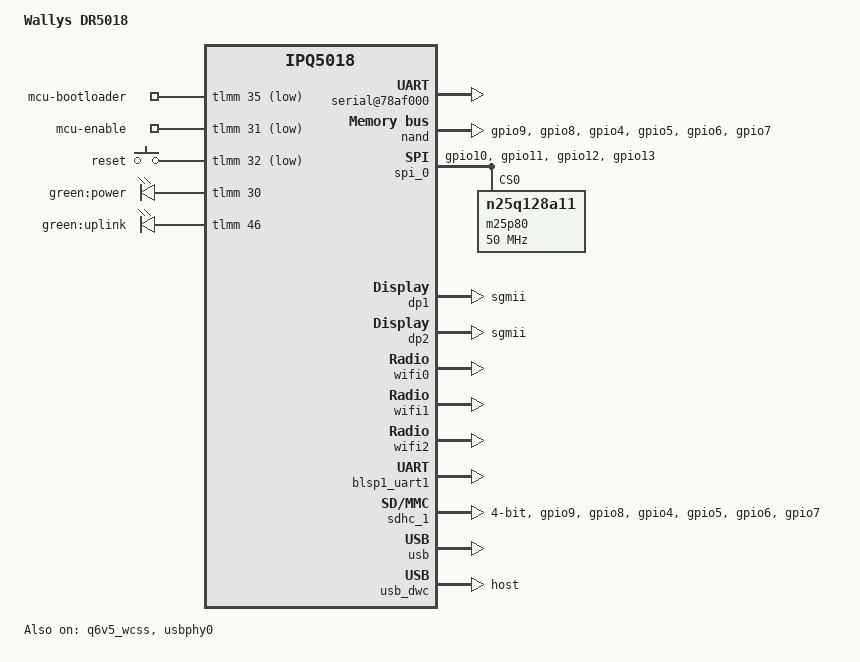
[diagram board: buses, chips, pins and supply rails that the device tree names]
// SPDX-License-Identifier: GPL-2.0-or-later OR MIT
/*
 * Copyright (c) 2025, Christian <kimocoder> Bremvaag <christian@aircrack-ng.org>
 *
 * The 'ipq5018-rdp432-c2.dts' bindings is already implemented in this dtsi.
 * rdp432-c2 ipq5018 contains '&usb', '&usb_dwc', '&usbphy0' and '&xo_board_clk'
 *
 * Also contains nss bindings, so instead of messing up this tree,
 * it's separated and should be included (as import) instead. enjoy.
 *
 */

/dts-v1/;

#include "ipq5018.dtsi"
#include "ipq5018-ess.dtsi"
#include "ipq5018-nss.dtsi"

#include <dt-bindings/gpio/gpio.h>
#include <dt-bindings/input/input.h>
#include <dt-bindings/leds/common.h>

/ {
	model = "Wallys DR5018";
	compatible = "wallys,dr5018", "qcom,ipq5018-mp03.5", "qcom,ipq5018";
	interrupt-parent = <&intc>;

	aliases {
		sdhc1 = &sdhc_1; /* SDC1 eMMC slot */
		serial0 = &blsp1_uart1;
		serial1 = &blsp1_uart2;
		ethernet0 = "/soc/dp1";
		ethernet1 = "/soc/dp2";

		led-boot = &led_power;
		led-failsafe = &led_power;
		led-running = &led_power;
		led-upgrade = &led_power;
	};

	chosen {
		bootargs = "console=ttyMSM0,115200,n8 rw init=/init";
		bootargs-append = " swiotlb=1 coherent_pool=2M";
		stdout-path = "serial0";
	};

	reserved-memory {
	#ifdef __IPQ_MEM_PROFILE_256_MB__
	/*		   256 MB Profile
	 * +==========+==============+=========================+
	 * |	  |	      |			 |
	 * |  Region  | Start Offset |	  Size	   |
	 * |	  |	      |			 |
	 * +----------+--------------+-------------------------+
	 * |    NSS   |  0x40000000  |	   8MB	   |
	 * +----------+--------------+-------------------------+
	 * |   Linux  |  0x40800000  | Depends on total memory |
	 * +----------+--------------+-------------------------+
	 * |   uboot  |  0x4A600000  |	   4MB	   |
	 * +----------+--------------+-------------------------+
	 * |    SBL   |  0x4AA00000  |	   1MB	   |
	 * +----------+--------------+-------------------------+
	 * |   smem   |  0x4AB00000  |	   1MB	   |
	 * +----------+--------------+-------------------------+
	 * |    TZ    |  0x4AC00000  |	   4MB	   |
	 * +----------+--------------+-------------------------+
	 * |    Q6    |	      |			 |
	 * |   code/  |  0x4B000000  |	  20MB	   |
	 * |   data   |	      |			 |
	 * +----------+--------------+-------------------------+
	 * |  IPQ5018 |	      |			 |
	 * |   data   |  0x4C400000  |	  13MB	   |
	 * +----------+--------------+-------------------------+
	 * |  IPQ5018 |	      |			 |
	 * |  M3 Dump |  0x4D100000  |	   1MB	   |
	 * +----------+--------------+-------------------------+
	 * |  IPQ5018 |	      |			 |
	 * |   QDSS   |  0x4D200000  |	   1MB	   |
	 * +----------+--------------+-------------------------+
	 * | QCN6122_1|	      |			 |
	 * |   data   |  0x4D300000  |	  13MB	   |
	 * +----------+--------------+-------------------------+
	 * | QCN6122_1|	      |			 |
	 * |  M3 Dump |  0x4E000000  |	   1MB	   |
	 * +----------+--------------+-------------------------+
	 * | QCN6122_1|	      |			 |
	 * |   QDSS   |  0x4E100000  |	   1MB	   |
	 * +----------+--------------+-------------------------+
	 * | QCN6122_2|	      |			 |
	 * |   data   |  0x4E200000  |	  13MB	   |
	 * +----------+--------------+-------------------------+
	 * | QCN6122_2|	      |			 |
	 * |  M3 Dump |  0x4EF00000  |	   1MB	   |
	 * +----------+--------------+-------------------------+
	 * | QCN6122_2|	      |			 |
	 * |   QDSS   |  0x4F000000  |	   1MB	   |
	 * +----------+--------------+-------------------------+
	 * |						   |
	 * |	    Rest of the memory for Linux	   |
	 * |						   |
	 * +===================================================+
	 */
		q6_mem_regions: q6_mem_regions@4B000000 {
			no-map;
			reg = <0x0 0x4B000000 0x0 0x4100000>;
		};

		q6_code_data: q6_code_data@4B000000 {
			no-map;
			reg = <0x0 0x4B000000 0x0 0x1400000>;
		};

		q6_ipq5018_data: q6_ipq5018_data@4C400000 {
			no-map;
			reg = <0x0 0x4C400000 0x0 0xD00000>;
		};

		m3_dump: m3_dump@4D100000 {
			no-map;
			reg = <0x0 0x4D100000 0x0 0x100000>;
		};

		q6_etr_region: q6_etr_dump@4D200000 {
			no-map;
			reg = <0x0 0x4D200000 0x0 0x100000>;
		};

		q6_qcn6122_data1: q6_qcn6122_data1@4D300000 {
			no-map;
			reg = <0x0 0x4D300000 0x0 0xD00000>;
		};

		m3_dump_qcn6122_1: m3_dump_qcn6122_1@4E000000 {
			no-map;
			reg = <0x0 0x4E000000 0x0 0x100000>;
		};

		q6_qcn6122_etr_1: q6_qcn6122_etr_1@4E100000 {
			no-map;
			reg = <0x0 0x4E100000 0x0 0x100000>;
		};

		q6_qcn6122_data2: q6_qcn6122_data2@4E200000 {
			no-map;
			reg = <0x0 0x4E200000 0x0 0xD00000>;
		};

		m3_dump_qcn6122_2: m3_dump_qcn6122_2@4EF00000 {
			no-map;
			reg = <0x0 0x4EF00000 0x0 0x100000>;
		};

		q6_qcn6122_etr_2: q6_qcn6122_etr_2@4F000000 {
			no-map;
			reg = <0x0 0x4F000000 0x0 0x100000>;
		};
	#else
	/*		 512MB/1GB Profiles
	 * +==========+==============+=========================+
	 * |	  |	      |			 |
	 * |  Region  | Start Offset |	  Size	   |
	 * |	  |	      |			 |
	 * +----------+--------------+-------------------------+
	 * |    NSS   |  0x40000000  |	  16MB	   |
	 * +----------+--------------+-------------------------+
	 * |   Linux  |  0x41000000  | Depends on total memory |
	 * +----------+--------------+-------------------------+
	 * |   uboot  |  0x4A600000  |	   4MB	   |
	 * +----------+--------------+-------------------------+
	 * |    SBL   |  0x4AA00000  |	   1MB	   |
	 * +----------+--------------+-------------------------+
	 * |   smem   |  0x4AB00000  |	   1MB	   |
	 * +----------+--------------+-------------------------+
	 * |    TZ    |  0x4AC00000  |	   4MB	   |
	 * +----------+--------------+-------------------------+
	 * |    Q6    |	      |			 |
	 * |   code/  |  0x4B000000  |	  20MB	   |
	 * |   data   |	      |			 |
	 * +----------+--------------+-------------------------+
	 * |  IPQ5018 |	      |			 |
	 * |   data   |  0x4C400000  |	  13MB	   |
	 * +----------+--------------+-------------------------+
	 * |  IPQ5018 |	      |			 |
	 * |  M3 Dump |  0x4D100000  |	   1MB	   |
	 * +----------+--------------+-------------------------+
	 * |  IPQ5018 |	      |			 |
	 * |   QDSS   |  0x4D200000  |	   1MB	   |
	 * +----------+--------------+-------------------------+
	 * |  IPQ5018 |	      |			 |
	 * |  Caldb   |  0x4D300000  |	   2MB	   |
	 * +----------+--------------+-------------------------+
	 * | QCN6122_1|	      |			 |
	 * |   data   |  0x4D500000  |	  13MB	   |
	 * +----------+--------------+-------------------------+
	 * | QCN6122_1|	      |			 |
	 * |  M3 Dump |  0x4E200000  |	   1MB	   |
	 * +----------+--------------+-------------------------+
	 * | QCN6122_1|	      |			 |
	 * |   QDSS   |  0x4E300000  |	   1MB	   |
	 * +----------+--------------+-------------------------+
	 * | QCN6122_1|	      |			 |
	 * |  Caldb   |  0x4E400000  |	   5MB	   |
	 * +----------+--------------+-------------------------+
	 * | QCN6122_2|	      |			 |
	 * |   data   |  0x4E900000  |	  13MB	   |
	 * +----------+--------------+-------------------------+
	 * | QCN6122_2|	      |			 |
	 * |  M3 Dump |  0x4F600000  |	   1MB	   |
	 * +----------+--------------+-------------------------+
	 * | QCN6122_2|	      |			 |
	 * |   QDSS   |  0x4F700000  |	   1MB	   |
	 * +----------+--------------+-------------------------+
	 * | QCN6122_2|	      |			 |
	 * |  Caldb   |  0x4F800000  |	   5MB	   |
	 * +----------+--------------+-------------------------+
	 * |						   |
	 * |	    Rest of the memory for Linux	   |
	 * |						   |
	 * +===================================================+
	 */
		q6_mem_regions: q6_mem_regions@4B000000 {
			no-map;
			reg = <0x0 0x4B000000 0x0 0x4D00000>;
		};

		q6_code_data: q6_code_data@4B000000 {
			no-map;
			reg = <0x0 0x4B000000 0x0 01400000>;
		};

		q6_ipq5018_data: q6_ipq5018_data@4C400000 {
			no-map;
			reg = <0x0 0x4C400000 0x0 0xD00000>;
		};

		m3_dump: m3_dump@4D100000 {
			no-map;
			reg = <0x0 0x4D100000 0x0 0x100000>;
		};

		q6_etr_region: q6_etr_dump@4D200000 {
			no-map;
			reg = <0x0 0x4D200000 0x0 0x100000>;
		};

		q6_caldb_region: q6_caldb_region@4D300000 {
			no-map;
			reg = <0x0 0x4D300000 0x0 0x200000>;
		};

		q6_qcn6122_data1: q6_qcn6122_data1@4D500000 {
			no-map;
			reg = <0x0 0x4D500000 0x0 0xD00000>;
		};

		m3_dump_qcn6122_1: m3_dump_qcn6122_1@4E200000 {
			no-map;
			reg = <0x0 0x4E200000 0x0 0x100000>;
		};

		q6_qcn6122_etr_1: q6_qcn6122_etr_1@4E300000 {
			no-map;
			reg = <0x0 0x4E300000 0x0 0x100000>;
		};

		q6_qcn6122_caldb_1: q6_qcn6122_caldb_1@4E400000 {
			no-map;
			reg = <0x0 0x4E400000 0x0 0x500000>;
		};

		q6_qcn6122_data2: q6_qcn6122_data2@4E900000 {
			no-map;
			reg = <0x0 0x4E900000 0x0 0xD00000>;
		};

		m3_dump_qcn6122_2: m3_dump_qcn6122_2@4F600000 {
			no-map;
			reg = <0x0 0x4F600000 0x0 0x100000>;
		};

		q6_qcn6122_etr_2: q6_qcn6122_etr_2@4F700000 {
			no-map;
			reg = <0x0 0x4F700000 0x0 0x100000>;
		};

		q6_qcn6122_caldb_2: q6_qcn6122_caldb_2@4F800000 {
			no-map;
			reg = <0x0 0x4F800000 0x0 0x500000>;
		};

	#endif
	};

	soc {
		serial@78af000 {
			status = "ok";
		};

		nand: qpic-nand@79b0000 {
			pinctrl-0 = <&qspi_nand_pins>;
			pinctrl-names = "default";
			status = "ok";
		};

		spi_0: spi@78b5000 { /* BLSP1 QUP0 */
			pinctrl-0 = <&blsp0_spi_pins>;
			pinctrl-names = "default";
			cs-select = <0>;
			status = "ok";

			m25p80@0 {
				reg = <0x0 0x0 0x1000000>;
				compatible = "n25q128a11";
				linux,modalias = "m25p80", "n25q128a11";
				spi-max-frequency = <50000000>;
				use-default-sizes;
			};
		};

		ess-instance {
			num_devices = <0x2>;
			ess-switch@39c00000 {
				compatible = "qcom,ess-switch-ipq50xx";
				device_id = <0>;
				switch_mac_mode = <0xf>; /* mac mode for uniphy instance*/
				cmnblk_clk = "internal_96MHz"; /* cmnblk clk*/
				qcom,port_phyinfo {
					port@0 {
						port_id = <1>;
						phy_address = <7>;
					};
					port@1 {
						port_id = <2>;
						forced-speed = <1000>;
						forced-duplex = <1>;
					};
				};
				led_source@0 {
					source = <0>;
					mode = "normal";
					speed = "all";
					blink_en = "enable";
					active = "high";
				};
			};
			ess-switch1@1 {
				compatible = "qcom,ess-switch-qca83xx";
				device_id = <1>;
				switch_access_mode = "mdio";
				mdio-bus = <&mdio1>;
				reset_gpio = <&tlmm 0x27 0>;
				switch_cpu_bmp = <0x40>;  /* cpu port bitmap */
				switch_lan_bmp = <0x1e>; /* lan port bitmap */
				switch_wan_bmp = <0x0>;  /* wan port bitmap */
				qca,ar8327-initvals = <
						0x00004 0x7600000   /* PAD0_MODE */
						0x00008 0x1000000   /* PAD5_MODE */
						0x0000c 0x80	/* PAD6_MODE */
						0x00010 0x2613a0    /* PORT6 FORCE MODE*/
						0x000e4 0xaa545     /* MAC_POWER_SEL */
						0x000e0 0xc74164de  /* SGMII_CTRL */
						0x0007c 0x4e	/* PORT0_STATUS */
						0x00094 0x4e	/* PORT6_STATUS */
				>;
				qcom,port_phyinfo {
					port@0 {
						port_id = <1>;
						phy_address = <0>;
					};
					port@1 {
						port_id = <2>;
						phy_address = <1>;
					};
					port@2 {
						port_id = <3>;
						phy_address = <2>;
					};
					port@3 {
						port_id = <4>;
						phy_address = <3>;
					};
				};
			};
		};

                dp1 {
                        device_type = "network";
                        compatible = "qcom,nss-dp";
                        clocks = <&gcc GCC_SNOC_GMAC0_AXI_CLK>;
                        clock-names = "nss-snoc-gmac-axi-clk";
                        qcom,id = <1>;
                        reg = <0x00000000 0x39C00000 0x00010000>;
                        interrupts = <GIC_SPI 101 IRQ_TYPE_LEVEL_HIGH>;
                        qcom,mactype = <2>;
                        qcom,link-poll = <1>;
                        qcom,phy-mdio-addr = <7>;
                        mdio-bus = <&mdio0>;
                        local-mac-address = [00 00 00 00 00 00];
                        phy-mode = "sgmii";
                        qcom,rx-page-mode = <0>;
                };

                dp2 {
                        device_type = "network";
                        compatible = "qcom,nss-dp";
                        clocks = <&gcc GCC_SNOC_GMAC1_AXI_CLK>;
                        clock-names = "nss-snoc-gmac-axi-clk";
                        qcom,id = <2>;
                        reg = <0x00000000 0x39D00000 0x00010000>;
                        interrupts = <GIC_SPI 109 IRQ_TYPE_LEVEL_HIGH>;
                        qcom,mactype = <2>;
                        qcom,link-poll = <1>;
                        qcom,phy-mdio-addr = <28>;
                        mdio-bus = <&mdio1>;
                        local-mac-address = [00 00 00 00 00 00];
                        phy-mode = "sgmii";
                        qcom,rx-page-mode = <0>;
                };

		nss-macsec1 {
			compatible = "qcom,nss-macsec";
			phy_addr = <0x1c>;
			mdiobus = <&mdio1>;
		};
	};

	qcom,test@0 {
		status = "ok";
	};

	thermal-zones {
		status = "ok";
	};
};

&tlmm {
	pinctrl-0 = <&blsp0_uart_pins &mcu_pins>;
	pinctrl-names = "default";

	mcu_pins: mcu_pins {
		mcu_rst {
			pins = "gpio31";
			function = "gpio";
			drive-strength = <8>;
			bias-disable;
			output-low;
		};

		mcu_sbl {
			pins = "gpio35";
			function = "gpio";
			drive-strength = <8>;
			bias-disable;
			output-low;
		};
	};

	blsp0_uart_pins: uart_pins {
		blsp0_uart_rx_tx {
			pins = "gpio20", "gpio21";
			function = "blsp0_uart0";
			bias-disable;
		};
	};

	blsp1_uart_pins: blsp1_uart_pins {
		blsp1_uart_rx_tx {
			pins = "gpio23", "gpio25", "gpio24", "gpio26";
			function = "blsp1_uart2";
			bias-disable;
		};
	};

	blsp0_spi_pins: blsp0_spi_pins {
		mux {
			pins = "gpio10", "gpio11", "gpio12", "gpio13";
			function = "blsp0_spi";
			drive-strength = <2>;
			bias-disable;
		};
	};

	qspi_nand_pins: qspi_nand_pins {
		qspi_clock {
			pins = "gpio9";
			function = "qspi_clk";
			drive-strength = <8>;
			bias-disable;
		};

		qspi_cs {
			pins = "gpio8";
			function = "qspi_cs";
			drive-strength = <8>;
			bias-disable;
		};

		qspi_data {
			pins = "gpio4", "gpio5", "gpio6", "gpio7";
			function = "qspi_data";
			drive-strength = <8>;
			bias-disable;
		};
	};

	mdio1_pins: mdio_pinmux {
		mux_0 {
			pins = "gpio36";
			function = "mdc";
			drive-strength = <8>;
			bias-pull-up;
		};

		mux_1 {
			pins = "gpio37";
			function = "mdio";
			drive-strength = <8>;
			bias-pull-up;
		};
	};

	leds_pins: leds_pins {
		led_power {
			pins = "gpio30";
			function = "gpio";
			drive-strength = <8>;
			bias-pull-down;
		};
		led_uplink {
			pins = "gpio46";
			function = "gpio";
			drive-strength = <8>;
			bias-pull-down;
		};
	};

	i2c_pins: i2c_pins {
		i2c_scl {
			pins = "gpio33";
			function = "blsp2_i2c0";
			drive-strength = <8>;
			bias-pull-up;
		};

		i2c_sda {
			pins = "gpio34";
			function = "blsp2_i2c0";
			drive-strength = <8>;
			bias-pull-up;
		};
	};

	button_pins: button_pins {
		wps_button {
			pins = "gpio38";
			function = "gpio";
			drive-strength = <8>;
			bias-pull-up;
		};
	};
};

&soc {
	gpio-export {
		compatible = "gpio-export";
		#size-cells = <0>;

		mcu-bootloader {
			gpio-export,name = "mcu-bootloader";
			gpio-export,output = <0>;
			gpios = <&tlmm 35 GPIO_ACTIVE_LOW>;
		};

		mcu-enable {
			gpio-export,name = "mcu-enable";
			gpio-export,output = <0>;
			gpios = <&tlmm 31 GPIO_ACTIVE_LOW>;
		};
	};

	gpio_keys {
		compatible = "gpio-keys";
		pinctrl-0 = <&button_pins>;
		pinctrl-names = "default";

		wps {
			label = "reset";
			linux,code = <KEY_RESTART>;
			gpios = <&tlmm 32 GPIO_ACTIVE_LOW>;
			linux,input-type = <1>;
			debounce-interval = <60>;
		};
	};

	leds {
		compatible = "gpio-leds";
		pinctrl-0 = <&leds_pins>;
		pinctrl-names = "default";

		led_power: led@30 {
			label = "green:power";
			gpios = <&tlmm 30 GPIO_ACTIVE_HIGH>;
			default-state = "on";
		};
		led@46 {
			label = "green:uplink";
			gpios = <&tlmm 46 GPIO_ACTIVE_HIGH>;
			default-state = "off";
		};
	};
};

&q6v5_wcss {
	compatible = "qcom,ipq5018-q6-mpd";
	#address-cells = <1>;
	#size-cells = <1>;
	ranges;
	firmware = "IPQ5018/q6_fw.mdt";
	reg = <0x0cd00000 0x4040>,
		<0x1938000 0x8>,
		<0x193d204 0x4>;
	reg-names = "qdsp6",
			"tcsr-msip",
			"tcsr-q6";
	resets = <&gcc GCC_WCSSAON_RESET>,
			<&gcc GCC_WCSS_Q6_BCR>;

	reset-names = "wcss_aon_reset",
			"wcss_q6_reset";

	clocks = <&gcc GCC_Q6_AXIS_CLK>,
		<&gcc GCC_WCSS_ECAHB_CLK>,
		<&gcc GCC_Q6_AXIM_CLK>,
		<&gcc GCC_Q6_AXIM2_CLK>,
		<&gcc GCC_Q6_AHB_CLK>,
		<&gcc GCC_Q6_AHB_S_CLK>,
		<&gcc GCC_WCSS_AXI_S_CLK>;
	clock-names = "gcc_q6_axis_clk",
		"gcc_wcss_ecahb_clk",
		"gcc_q6_axim_clk",
		"gcc_q6_axim2_clk",
		"gcc_q6_ahb_clk",
		"gcc_q6_ahb_s_clk",
		"gcc_wcss_axi_s_clk";

	#ifdef __IPQ_MEM_PROFILE_256_MB__
		memory-region = <&q6_mem_regions>, <&q6_etr_region>;
	#else
		memory-region = <&q6_mem_regions>, <&q6_etr_region>,
				<&q6_caldb_region>;
	#endif

	qcom,rproc = <&q6v5_wcss>;
	qcom,bootargs_smem = <507>;
	boot-args = <0x1 0x4 0x3 0x0F 0x0 0x0>,
			<0x2 0x4 0x2 0x12 0x0 0x0>;
	status = "ok";
	q6_wcss_pd1: remoteproc_pd1@4ab000 {
		compatible = "qcom,ipq5018-wcss-ahb-mpd";
		reg = <0x4ab000 0x20>;
		reg-names = "rmb";
		firmware = "IPQ5018/q6_fw.mdt";
		m3_firmware = "IPQ5018/m3_fw.mdt";
		interrupts-extended = <&wcss_smp2p_in 8 0>,
					<&wcss_smp2p_in 9 0>,
					<&wcss_smp2p_in 12 0>,
					<&wcss_smp2p_in 11 0>;
		interrupt-names = "fatal",
					"ready",
					"spawn-ack",
					"stop-ack";

		resets = <&gcc GCC_WCSSAON_RESET>,
				<&gcc GCC_WCSS_BCR>,
				<&gcc GCC_CE_BCR>;
		reset-names = "wcss_aon_reset",
				"wcss_reset",
				"ce_reset";

		clocks = <&gcc GCC_WCSS_AHB_S_CLK>,
				<&gcc GCC_WCSS_ACMT_CLK>,
				<&gcc GCC_WCSS_AXI_M_CLK>;
		clock-names = "gcc_wcss_ahb_s_clk",
					"gcc_wcss_acmt_clk",
					"gcc_wcss_axi_m_clk";

		qcom,smem-states = <&wcss_smp2p_out 8>,
					<&wcss_smp2p_out 9>,
					<&wcss_smp2p_out 10>;
		qcom,smem-state-names = "shutdown",
					"stop",
					"spawn";
	#ifdef __IPQ_MEM_PROFILE_256_MB__
		memory-region = <&q6_ipq5018_data>, <&m3_dump>,
				<&q6_etr_region>;
	#else
		memory-region = <&q6_ipq5018_data>, <&m3_dump>,
				<&q6_etr_region>, <&q6_caldb_region>;
	#endif

	};

	q6_wcss_pd2: remoteproc_pd2 {
		compatible = "qcom,ipq5018-wcss-pcie-mpd";
		firmware = "IPQ5018/q6_fw.mdt";
		m3_firmware = "qcn6122/m3_fw.mdt";
		interrupts-extended = <&wcss_smp2p_in 16 0>,
					<&wcss_smp2p_in 17 0>,
					<&wcss_smp2p_in 20 0>,
					<&wcss_smp2p_in 19 0>;
		interrupt-names = "fatal",
					"ready",
					"spawn-ack",
					"stop-ack";

		qcom,smem-states = <&wcss_smp2p_out 16>,
					<&wcss_smp2p_out 17>,
					<&wcss_smp2p_out 18>;
		qcom,smem-state-names = "shutdown",
					"stop",
					"spawn";
	#ifdef __IPQ_MEM_PROFILE_256_MB__
		memory-region = <&q6_qcn6122_data1>, <&m3_dump_qcn6122_1>,
				<&q6_qcn6122_etr_1>;
	#else
		memory-region = <&q6_qcn6122_data1>, <&m3_dump_qcn6122_1>,
				<&q6_qcn6122_etr_1>, <&q6_qcn6122_caldb_1>;
	#endif

	};

	q6_wcss_pd3: remoteproc_pd3 {
		compatible = "qcom,ipq5018-wcss-pcie-mpd";
		firmware = "IPQ5018/q6_fw.mdt";
		interrupts-extended = <&wcss_smp2p_in 24 0>,
					<&wcss_smp2p_in 25 0>,
					<&wcss_smp2p_in 28 0>,
					<&wcss_smp2p_in 27 0>;
		interrupt-names = "fatal",
					"ready",
					"spawn-ack",
					"stop-ack";

		qcom,smem-states = <&wcss_smp2p_out 24>,
					<&wcss_smp2p_out 25>,
					<&wcss_smp2p_out 26>;
		qcom,smem-state-names = "shutdown",
					"stop",
					"spawn";
	#ifdef	__IPQ_MEM_PROFILE_256_MB__
		memory-region = <&q6_qcn6122_data2>, <&m3_dump_qcn6122_2>,
				<&q6_qcn6122_etr_2>;
	#else
		memory-region = <&q6_qcn6122_data2>, <&m3_dump_qcn6122_2>,
				<&q6_qcn6122_etr_2>, <&q6_qcn6122_caldb_2>;
	#endif
	};
};

&wifi0 {
	/* IPQ5018 */
	qcom,multipd_arch;
	qcom,rproc = <&q6_wcss_pd1>;
	qcom,userpd-subsys-name = "q6v5_wcss_userpd1";
#ifdef __IPQ_MEM_PROFILE_256_MB__
	qcom,tgt-mem-mode = <2>;
#else
	qcom,tgt-mem-mode = <1>;
#endif
	qcom,board_id = <0x23>;
#ifdef __CNSS2__
	qcom,bdf-addr = <0x4C400000 0x4C400000 0x4C400000 0x0 0x0 0x0>;
	qcom,caldb-addr = <0x4D300000 0x4D300000 0 0 0 0>;
	qcom,caldb-size = <0x200000>;
	mem-region = <&q6_ipq5018_data>;
#else
	memory-region = <&q6_ipq5018_data>;
#endif
	status = "ok";
};

&wifi1 {
	/* QCN6122 5G */
	qcom,multipd_arch;
	qcom,userpd-subsys-name = "q6v5_wcss_userpd2";
	qcom,rproc = <&q6_wcss_pd2>;
#ifdef __IPQ_MEM_PROFILE_256_MB__
	qcom,tgt-mem-mode = <2>;
#else
	qcom,tgt-mem-mode = <1>;
#endif
	qcom,board_id = <0x60>;
#ifdef __CNSS2__
	qcom,bdf-addr = <0x4D500000 0x4D500000 0x4D300000 0x0 0x0 0x0>;
	qcom,caldb-addr = <0x4E400000 0x4E400000 0 0 0 0>;
	qcom,caldb-size = <0x500000>;
	mem-region = <&q6_qcn6122_data1>;
#else
	memory-region = <&q6_qcn6122_data1>;
#endif
	status = "ok";
};

&wifi2 {
	/* QCN6122 6G */
	qcom,multipd_arch;
	qcom,userpd-subsys-name = "q6v5_wcss_userpd3";
	qcom,rproc = <&q6_wcss_pd3>;
#ifdef __IPQ_MEM_PROFILE_256_MB__
	qcom,tgt-mem-mode = <2>;
#else
	qcom,tgt-mem-mode = <1>;
#endif
	qcom,board_id = <0xb0>;
#ifdef __CNSS2__
	qcom,bdf-addr = <0x4E900000 0x4E900000 0x4E200000 0x0 0x0 0x0>;
	qcom,caldb-addr = <0x4F800000 0x4F800000 0 0 0 0>;
	qcom,caldb-size = <0x500000>;
	mem-region = <&q6_qcn6122_data2>;
#else
	memory-region = <&q6_qcn6122_data2>;
#endif
	status = "ok";
};

&blsp1_uart1 {
        pinctrl-0 = <&uart1_pins>;
        pinctrl-names = "default";
        status = "okay";
};

&sdhc_1 {
        pinctrl-0 = <&sdc_default_state>;
        pinctrl-names = "default";
        mmc-ddr-1_8v;
        mmc-hs200-1_8v;
        max-frequency = <192000000>;
        bus-width = <4>;
        status = "okay";
};

&sleep_clk {
        clock-frequency = <32000>;
};

&tlmm {
        sdc_default_state: sdc-default-state {
                clk-pins {
                        pins = "gpio9";
                        function = "sdc1_clk";
                        drive-strength = <8>;
                        bias-disable;
                };

                cmd-pins {
                        pins = "gpio8";
                        function = "sdc1_cmd";
                        drive-strength = <8>;
                        bias-pull-up;
                };

                data-pins {
                        pins = "gpio4", "gpio5", "gpio6", "gpio7";
                        function = "sdc1_data";
                        drive-strength = <8>;
                        bias-disable;
                };
        };
};

&usb {
        status = "okay";
};

&usb_dwc {
        dr_mode = "host";
};

&usbphy0 {
        status = "okay";
};

&xo_board_clk {
        clock-frequency = <24000000>;
};
